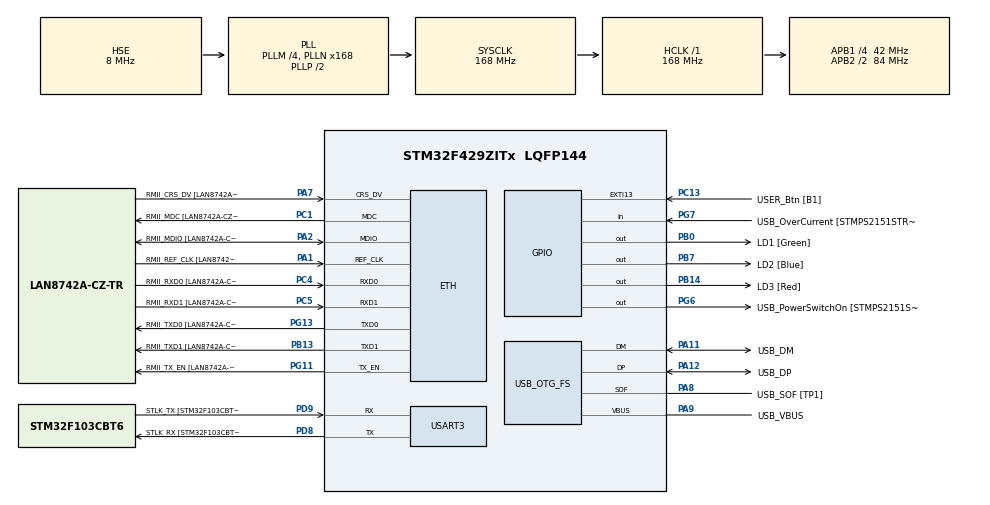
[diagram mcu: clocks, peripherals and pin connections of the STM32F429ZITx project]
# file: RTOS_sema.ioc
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ETH.MediaInterface=HAL_ETH_RMII_MODE
ETH.PHY_Name=LAN8742A_PHY_ADDRESS
ETH.PHY_Value=0
ETH.PhyAddress=0
FREERTOS.Tasks01=defaultTask,24,128,StartDefaultTask,Default,NULL,Dynamic,NULL,NULL
Mcu.Family=STM32F4
Mcu.Name=STM32F429ZITx
Mcu.Package=LQFP144
NVIC.PriorityGroup=NVIC_PRIORITYGROUP_4
PA1.GPIO_Label=RMII_REF_CLK [LAN8742A-CZ-TR_REFCLK0]
PA1.Mode=RMII
PA1.Signal=ETH_REF_CLK
PA10.GPIO_Label=USB_ID
PA10.Signal=USB_OTG_FS_ID
PA11.GPIO_Label=USB_DM
PA11.Mode=Device_Only
PA11.Signal=USB_OTG_FS_DM
PA12.GPIO_Label=USB_DP
PA12.Mode=Device_Only
PA12.Signal=USB_OTG_FS_DP
PA13.GPIO_Label=TMS
PA13.Mode=Serial_Wire
PA13.Signal=SYS_JTMS-SWDIO
PA14.GPIO_Label=TCK
PA14.Mode=Serial_Wire
PA14.Signal=SYS_JTCK-SWCLK
PA2.GPIO_Label=RMII_MDIO [LAN8742A-CZ-TR_MDIO]
PA2.Mode=RMII
PA2.Signal=ETH_MDIO
PA7.GPIO_Label=RMII_CRS_DV [LAN8742A-CZ-TR_CRS_DV]
PA7.Mode=RMII
PA7.Signal=ETH_CRS_DV
PA8.GPIO_Label=USB_SOF [TP1]
PA8.Mode=Activate_SOF_FS
PA8.Signal=USB_OTG_FS_SOF
PA9.GPIO_Label=USB_VBUS
PA9.Mode=Activate_VBUS
PA9.Signal=USB_OTG_FS_VBUS
PB0.GPIO_Label=LD1 [Green]
PB0.Signal=GPIO_Output
PB13.GPIO_Label=RMII_TXD1 [LAN8742A-CZ-TR_TXD1]
PB13.Mode=RMII
PB13.Signal=ETH_TXD1
PB14.GPIO_Label=LD3 [Red]
PB14.Signal=GPIO_Output
PB7.GPIO_Label=LD2 [Blue]
PB7.Signal=GPIO_Output
PC1.GPIO_Label=RMII_MDC [LAN8742A-CZ-TR_MDC]
PC1.Mode=RMII
PC1.Signal=ETH_MDC
PC13.GPIO_Label=USER_Btn [B1]
PC13.Signal=GPXTI13
PC14/OSC32_IN.Mode=LSE-External-Oscillator
PC14/OSC32_IN.Signal=RCC_OSC32_IN
PC15/OSC32_OUT.Mode=LSE-External-Oscillator
PC15/OSC32_OUT.Signal=RCC_OSC32_OUT
PC4.GPIO_Label=RMII_RXD0 [LAN8742A-CZ-TR_RXD0]
PC4.Mode=RMII
PC4.Signal=ETH_RXD0
PC5.GPIO_Label=RMII_RXD1 [LAN8742A-CZ-TR_RXD1]
PC5.Mode=RMII
PC5.Signal=ETH_RXD1
PD8.GPIO_Label=STLK_RX [STM32F103CBT6_PA3]
PD8.Mode=Asynchronous
PD8.Signal=USART3_TX
PD9.GPIO_Label=STLK_TX [STM32F103CBT6_PA2]
PD9.Mode=Asynchronous
PD9.Signal=USART3_RX
PG11.GPIO_Label=RMII_TX_EN [LAN8742A-CZ-TR_TXEN]
PG11.Mode=RMII
PG11.Signal=ETH_TX_EN
PG13.GPIO_Label=RMII_TXD0 [LAN8742A-CZ-TR_TXD0]
PG13.Mode=RMII
PG13.Signal=ETH_TXD0
PG6.GPIO_Label=USB_PowerSwitchOn [STMPS2151STR_EN]
PG6.Signal=GPIO_Output
PG7.GPIO_Label=USB_OverCurrent [STMPS2151STR_FAULT]
PG7.Signal=GPIO_Input
PH0/OSC_IN.GPIO_Label=MCO [STM32F103CBT6_PA8]
PH0/OSC_IN.Mode=HSE-External-Clock-Source
PH0/OSC_IN.Signal=RCC_OSC_IN
PH1/OSC_OUT.Mode=HSE-External-Clock-Source
PH1/OSC_OUT.Signal=RCC_OSC_OUT
ProjectManager.HeapSize=0x200
ProjectManager.StackSize=0x400
ProjectManager.TargetToolchain=STM32CubeIDE
RCC.48MHZClocksFreq_Value=48000000
RCC.AHBFreq_Value=168000000
RCC.APB1CLKDivider=RCC_HCLK_DIV4
RCC.APB1Freq_Value=42000000
RCC.APB1TimFreq_Value=84000000
RCC.APB2CLKDivider=RCC_HCLK_DIV2
RCC.APB2Freq_Value=84000000
RCC.APB2TimCLKDivider=2
RCC.APB2TimFreq_Value=168000000
RCC.CortexFreq_Value=168000000
RCC.HCLKFreq_Value=168000000
RCC.HSE_VALUE=8000000
RCC.HSI_VALUE=16000000
RCC.PLLM=4
RCC.PLLMUL=RCC_PLL_MUL9
RCC.PLLN=168
RCC.PLLQ=7
RCC.PRESCALERUSB=RCC_USBCLKSOURCE_PLL_DIV1_5
RCC.SYSCLKFreq_VALUE=168000000
RCC.SYSCLKSource=RCC_SYSCLKSOURCE_PLLCLK
RCC.SYSCLKSourceVirtual=RCC_SYSCLKSOURCE_PLLCLK
RCC.USBFreq_Value=48000000
RCC.VCOOutputFreq_Value=336000000
USART3.VirtualMode=VM_ASYNC
USB_OTG_FS.VirtualMode=Device_Only
VP_FREERTOS_VS_CMSIS_V2.Mode=CMSIS_V2
board=NUCLEO-F429ZI

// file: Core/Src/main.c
/* USER CODE BEGIN Header */
/**
  ******************************************************************************
  * @file           : main.c
  * @brief          : Main program body
  ******************************************************************************
  * @attention
  *
  * Copyright (c) 2026 STMicroelectronics.
  * All rights reserved.
  *
  * This software is licensed under terms that can be found in the LICENSE file
  * in the root directory of this software component.
  * If no LICENSE file comes with this software, it is provided AS-IS.
  *
  ******************************************************************************
  */
/* USER CODE END Header */
#include "main.h"
#include "string.h"
#include "cmsis_os.h"
#include "stdlib.h"
#include "semphr.h"

ETH_TxPacketConfig TxConfig;
ETH_DMADescTypeDef  DMARxDscrTab[ETH_RX_DESC_CNT]; /* Ethernet Rx DMA Descriptors */
ETH_DMADescTypeDef  DMATxDscrTab[ETH_TX_DESC_CNT]; /* Ethernet Tx DMA Descriptors */

ETH_HandleTypeDef heth;

UART_HandleTypeDef huart3;

PCD_HandleTypeDef hpcd_USB_OTG_FS;

/* Definitions for defaultTask */
osThreadId_t defaultTaskHandle;
const osThreadAttr_t defaultTask_attributes = {
  .name = "defaultTask",
  .stack_size = 128 * 4,
  .priority = (osPriority_t) osPriorityNormal,
};
/* USER CODE BEGIN PV */
#include "stdarg.h"
#include <stdio.h>

void UART3_Init(){
	// clk enable
	RCC->AHB1ENR |= (0x1 << 3); // gpiod clk enable
	RCC->APB1ENR |= (0x1 << 18); // uart3 clk enable

	// GPIO mode
	GPIOD->MODER &= ~((0x3 << 8*2) | (0x3 << 9*2));
	GPIOD->MODER |=  ((0x2 << 8*2) | (0x2 << 9*2));  // AF mode

	GPIOD->AFR[1] = ((GPIOD->AFR[1] & ~(0xff<<0))| (0x77<<0));

	GPIOD->OSPEEDR |= ((0x3 << 8*2) | (0x3 << 9*2));

	//uart setting
	USART3->CR1 |= (0x1 << 13); // uart3 enable
	USART3->CR1 &= ~(0x1 << 12); // 8bit length set

	USART3->CR2 &= ~(0x3 << 12); //stop bit 1 length

	// systemclock_config() 함수 사용시 uart에 42Mhz clk 인가 >> 0x16D
	// systemclock_config() 함수 사용X 시 uart에 16Mhz clk 인가
	USART3->BRR = 0x16D;

	USART3->CR1 |= (0x3 << 2); // Tx, Rx enable
}

void UART3_Send_Byte(char ch){
	if (ch == '\n'){
		USART3->DR = 0x0d; // new line인 경우, '\n' 추가전송
		while(((USART3->SR >> 7) & 0x1) == 0);
	}
	USART3->DR = ch;
	while(((USART3->SR >> 7) & 0x1) == 0); // wait TXE
}

void UART3_Send_String(char* p){
    while (*p){
        UART3_Send_Byte(*p++);
    }
}

uint32_t UART3_Printf(const char* msg, ...){
	va_list args;
	char res_msg[200];
	uint32_t cnt_rtn = 0;
	va_start(args, msg);
	vsprintf(res_msg, msg, args);
	va_end(args);

	UART3_Send_String(res_msg);

	return cnt_rtn; // 출력한 문자 수 반환
}
/* USER CODE END PV */

void SystemClock_Config(void);
static void MX_GPIO_Init(void);
static void MX_ETH_Init(void);
static void MX_USART3_UART_Init(void);
static void MX_USB_OTG_FS_PCD_Init(void);
void StartDefaultTask(void *argument);

/* USER CODE BEGIN PFP */
void Start1(void *argument);
void Start2(void *argument);
void UartTask(void *argument);

volatile int N = 0;
/* USER CODE END PFP */

/* USER CODE BEGIN 0 */
SemaphoreHandle_t UART1, UART2, SW;

QueueHandle_t xQueue;
/* USER CODE END 0 */

int main(void)
{

  /* MCU Configuration--------------------------------------------------------*/

  /* Reset of all peripherals, Initializes the Flash interface and the Systick. */
  HAL_Init();

  /* Configure the system clock */
  SystemClock_Config();

  /* Initialize all configured peripherals */
  MX_GPIO_Init();
  MX_ETH_Init();
  MX_USART3_UART_Init();
  MX_USB_OTG_FS_PCD_Init();

  /* Init scheduler */
  osKernelInitialize();
  /* USER CODE BEGIN RTOS_MUTEX */
  UART1 = xSemaphoreCreateBinary();
  UART2 = xSemaphoreCreateBinary();
  SW = xSemaphoreCreateBinary();
  xSemaphoreGive(UART1);

  xQueue = xQueueCreate(32, sizeof(char));
  /* USER CODE END RTOS_MUTEX */

  /* Create the thread(s) */
  /* creation of defaultTask */
  defaultTaskHandle = osThreadNew(StartDefaultTask, NULL, &defaultTask_attributes);

  /* USER CODE BEGIN RTOS_THREADS */
  xTaskCreate(Start1, "num1task", 1000,NULL, 10,NULL);
  xTaskCreate(Start2, "num2task", 1000,NULL, 10,NULL);
  xTaskCreate(UartTask, "cmd", 1000,NULL, 10,NULL);
  /* USER CODE END RTOS_THREADS */

  /* USER CODE BEGIN RTOS_EVENTS */
  RCC->AHB1ENR |= (3 << 1);
  RCC->APB2ENR |= (1 << 14);
    /*gpio B out mode 설정*/
  GPIOB->MODER &= ~(3 << (7 * 2));
  GPIOB->MODER |=  (1 << (7 * 2));

  // [1] SYSCFG->EXTI 설정 PC13
  SYSCFG->EXTICR[3] &= ~(0xF<<4);
  SYSCFG->EXTICR[3] |= (0x2<<4);

  // [2] EXTI-> 레지스터 설정 (PC 13번)
  EXTI->RTSR |= (0x1<<13);
  EXTI->IMR |= (0x1<<13);

  // [3] UART3 인터럽트 설정
  USART3->CR1 |= 1<<5;

  NVIC_SetPriority(EXTI15_10_IRQn, 5);
  NVIC_EnableIRQ(EXTI15_10_IRQn);

  NVIC_SetPriority(USART3_IRQn, 7);
  NVIC_EnableIRQ(USART3_IRQn);
  /* USER CODE END RTOS_EVENTS */

  /* Start scheduler */
  osKernelStart();

  /* We should never get here as control is now taken by the scheduler */

  /* Infinite loop */
  while (1)
  {

  }
}

void SystemClock_Config(void)
{
  RCC_OscInitTypeDef RCC_OscInitStruct = {0};
  RCC_ClkInitTypeDef RCC_ClkInitStruct = {0};

  /** Configure the main internal regulator output voltage
  */
  __HAL_RCC_PWR_CLK_ENABLE();
  __HAL_PWR_VOLTAGESCALING_CONFIG(PWR_REGULATOR_VOLTAGE_SCALE1);

  /** Initializes the RCC Oscillators according to the specified parameters
  * in the RCC_OscInitTypeDef structure.
  */
  RCC_OscInitStruct.OscillatorType = RCC_OSCILLATORTYPE_HSE;
  RCC_OscInitStruct.HSEState = RCC_HSE_BYPASS;
  RCC_OscInitStruct.PLL.PLLState = RCC_PLL_ON;
  RCC_OscInitStruct.PLL.PLLSource = RCC_PLLSOURCE_HSE;
  RCC_OscInitStruct.PLL.PLLM = 4;
  RCC_OscInitStruct.PLL.PLLN = 168;
  RCC_OscInitStruct.PLL.PLLP = RCC_PLLP_DIV2;
  RCC_OscInitStruct.PLL.PLLQ = 7;
  if (HAL_RCC_OscConfig(&RCC_OscInitStruct) != HAL_OK)
  {
    Error_Handler();
  }

  /** Initializes the CPU, AHB and APB buses clocks
  */
  RCC_ClkInitStruct.ClockType = RCC_CLOCKTYPE_HCLK|RCC_CLOCKTYPE_SYSCLK
                              |RCC_CLOCKTYPE_PCLK1|RCC_CLOCKTYPE_PCLK2;
  RCC_ClkInitStruct.SYSCLKSource = RCC_SYSCLKSOURCE_PLLCLK;
  RCC_ClkInitStruct.AHBCLKDivider = RCC_SYSCLK_DIV1;
  RCC_ClkInitStruct.APB1CLKDivider = RCC_HCLK_DIV4;
  RCC_ClkInitStruct.APB2CLKDivider = RCC_HCLK_DIV2;

  if (HAL_RCC_ClockConfig(&RCC_ClkInitStruct, FLASH_LATENCY_5) != HAL_OK)
  {
    Error_Handler();
  }
}

static void MX_ETH_Init(void)
{

   static uint8_t MACAddr[6];

  heth.Instance = ETH;
  MACAddr[0] = 0x00;
  MACAddr[1] = 0x80;
  MACAddr[2] = 0xE1;
  MACAddr[3] = 0x00;
  MACAddr[4] = 0x00;
  MACAddr[5] = 0x00;
  heth.Init.MACAddr = &MACAddr[0];
  heth.Init.MediaInterface = HAL_ETH_RMII_MODE;
  heth.Init.TxDesc = DMATxDscrTab;
  heth.Init.RxDesc = DMARxDscrTab;
  heth.Init.RxBuffLen = 1524;

  if (HAL_ETH_Init(&heth) != HAL_OK)
  {
    Error_Handler();
  }

  memset(&TxConfig, 0 , sizeof(ETH_TxPacketConfig));
  TxConfig.Attributes = ETH_TX_PACKETS_FEATURES_CSUM | ETH_TX_PACKETS_FEATURES_CRCPAD;
  TxConfig.ChecksumCtrl = ETH_CHECKSUM_IPHDR_PAYLOAD_INSERT_PHDR_CALC;
  TxConfig.CRCPadCtrl = ETH_CRC_PAD_INSERT;

}

static void MX_USART3_UART_Init(void)
{

  huart3.Instance = USART3;
  huart3.Init.BaudRate = 115200;
  huart3.Init.WordLength = UART_WORDLENGTH_8B;
  huart3.Init.StopBits = UART_STOPBITS_1;
  huart3.Init.Parity = UART_PARITY_NONE;
  huart3.Init.Mode = UART_MODE_TX_RX;
  huart3.Init.HwFlowCtl = UART_HWCONTROL_NONE;
  huart3.Init.OverSampling = UART_OVERSAMPLING_16;
  if (HAL_UART_Init(&huart3) != HAL_OK)
  {
    Error_Handler();
  }

}

static void MX_USB_OTG_FS_PCD_Init(void)
{

  hpcd_USB_OTG_FS.Instance = USB_OTG_FS;
  hpcd_USB_OTG_FS.Init.dev_endpoints = 4;
  hpcd_USB_OTG_FS.Init.speed = PCD_SPEED_FULL;
  hpcd_USB_OTG_FS.Init.dma_enable = DISABLE;
  hpcd_USB_OTG_FS.Init.phy_itface = PCD_PHY_EMBEDDED;
  hpcd_USB_OTG_FS.Init.Sof_enable = ENABLE;
  hpcd_USB_OTG_FS.Init.low_power_enable = DISABLE;
  hpcd_USB_OTG_FS.Init.lpm_enable = DISABLE;
  hpcd_USB_OTG_FS.Init.vbus_sensing_enable = ENABLE;
  hpcd_USB_OTG_FS.Init.use_dedicated_ep1 = DISABLE;
  if (HAL_PCD_Init(&hpcd_USB_OTG_FS) != HAL_OK)
  {
    Error_Handler();
  }

}

static void MX_GPIO_Init(void)
{
  GPIO_InitTypeDef GPIO_InitStruct = {0};

  /* GPIO Ports Clock Enable */
  __HAL_RCC_GPIOC_CLK_ENABLE();
  __HAL_RCC_GPIOH_CLK_ENABLE();
  __HAL_RCC_GPIOA_CLK_ENABLE();
  __HAL_RCC_GPIOB_CLK_ENABLE();
  __HAL_RCC_GPIOD_CLK_ENABLE();
  __HAL_RCC_GPIOG_CLK_ENABLE();

  /*Configure GPIO pin Output Level */
  HAL_GPIO_WritePin(GPIOB, LD1_Pin|LD3_Pin|LD2_Pin, GPIO_PIN_RESET);

  /*Configure GPIO pin Output Level */
  HAL_GPIO_WritePin(USB_PowerSwitchOn_GPIO_Port, USB_PowerSwitchOn_Pin, GPIO_PIN_RESET);

  /*Configure GPIO pin : USER_Btn_Pin */
  GPIO_InitStruct.Pin = USER_Btn_Pin;
  GPIO_InitStruct.Mode = GPIO_MODE_IT_RISING;
  GPIO_InitStruct.Pull = GPIO_NOPULL;
  HAL_GPIO_Init(USER_Btn_GPIO_Port, &GPIO_InitStruct);

  /*Configure GPIO pins : LD1_Pin LD3_Pin LD2_Pin */
  GPIO_InitStruct.Pin = LD1_Pin|LD3_Pin|LD2_Pin;
  GPIO_InitStruct.Mode = GPIO_MODE_OUTPUT_PP;
  GPIO_InitStruct.Pull = GPIO_NOPULL;
  GPIO_InitStruct.Speed = GPIO_SPEED_FREQ_LOW;
  HAL_GPIO_Init(GPIOB, &GPIO_InitStruct);

  /*Configure GPIO pin : USB_PowerSwitchOn_Pin */
  GPIO_InitStruct.Pin = USB_PowerSwitchOn_Pin;
  GPIO_InitStruct.Mode = GPIO_MODE_OUTPUT_PP;
  GPIO_InitStruct.Pull = GPIO_NOPULL;
  GPIO_InitStruct.Speed = GPIO_SPEED_FREQ_LOW;
  HAL_GPIO_Init(USB_PowerSwitchOn_GPIO_Port, &GPIO_InitStruct);

  /*Configure GPIO pin : USB_OverCurrent_Pin */
  GPIO_InitStruct.Pin = USB_OverCurrent_Pin;
  GPIO_InitStruct.Mode = GPIO_MODE_INPUT;
  GPIO_InitStruct.Pull = GPIO_NOPULL;
  HAL_GPIO_Init(USB_OverCurrent_GPIO_Port, &GPIO_InitStruct);

}

/* USER CODE BEGIN Header_StartDefaultTask */
void Start1(void *argument)
{
  /* USER CODE BEGIN 5 */
  /* Infinite loop */
  for(;;)
  {
    if (xSemaphoreTake(UART1, portMAX_DELAY )){
    	N++;
    	osDelay(1000);
    	xSemaphoreGive(UART2);
    }
  }
  /* USER CODE END 5 */
}

void Start2(void *argument)
{
  /* USER CODE BEGIN 5 */
  /* Infinite loop */
  for(;;)
  {
	  if (xSemaphoreTake(UART2, portMAX_DELAY )){
		  UART3_Printf("%d\n\r",N);
	  	  xSemaphoreGive(UART1);
	  }
	  osDelay(1000);
  }
  /* USER CODE END 5 */
}

extern QueueHandle_t xQueue;
void USART3_IRQHandler(void)
{
	BaseType_t xHigherPriorityTaskWoken = pdFALSE;
	char ch;

	if (USART3->SR & (1 << 5))	// RXNE bit
	{
		ch =( char)(USART3->DR &0xFF);
		xQueueSendToBackFromISR(xQueue, &ch, &xHigherPriorityTaskWoken);
	}
	portYIELD_FROM_ISR(xHigherPriorityTaskWoken);

}

/* USER CODE END Header_StartDefaultTask */
void StartDefaultTask(void *argument)
{
  /* USER CODE BEGIN 5 */
  /* Infinite loop */
  for(;;)
  {
	 if (xSemaphoreTake(SW, portMAX_DELAY)){
		 GPIOB->ODR ^= (1 << 7);
	 }
  }
  /* USER CODE END 5 */
}

void UartTask(void *argument)
{
	char ch;
	char cmd[5];
	int idx=0;
  /* Infinite loop */
  for(;;)
  {
	  if(xQueueReceive(xQueue, &ch, portMAX_DELAY))
	  {
		  UART3_Printf("%c",ch);

		  if(ch == '\r' || ch=='\n')
		  {
			  continue;
		  }
		  if(ch == '@')
		  {
			  idx = 0;
			  cmd[idx++] = ch;
		  }
		  else if(idx > 0)
		  {
			  cmd[idx++] = ch;
//			  Uart3_Printf("idx = %d\n",idx);
		  }

		  if(idx == 4)
		  {
			  cmd[4] = '\0';
//			  Uart3_Printf("%s\n",cmd);
			  if(strcmp(cmd,"@L11\0")==0)
			  {
				  GPIOB->ODR |= (0x1<<7);
			  }
			  else if(strcmp(cmd,"@L10\0")==0)
			  {
				  GPIOB->ODR &= ~(0x1<<7);
			  }

			  idx = 0;
		  }
	  }
  }
}

void EXTI15_10_IRQHandler(void) {
    if (EXTI->PR & (1 << 13)) {  // 13번 라인 확인
    	EXTI->PR = (1 << 13);    // Pending bit 클리어 (W1C)
        // 1. 깨어날 높은 우선순위 태스크가 있는지 체크할 변수 선언 (기본값 false)
        BaseType_t xHigherPriorityTaskWoken = pdFALSE;

        // 2. 숫자가 아닌 변수의 '주소(&)'를 전달합니다.
        xSemaphoreGiveFromISR(SW, &xHigherPriorityTaskWoken);

        // 3. 만약 방금 준 세마포어 때문에 더 높은 우선순위 태스크가 깨어났다면 즉시 문맥 전환
        portYIELD_FROM_ISR(xHigherPriorityTaskWoken);

    }
}

void Error_Handler(void)
{
  __disable_irq();
  while (1)
  {
  }
}
